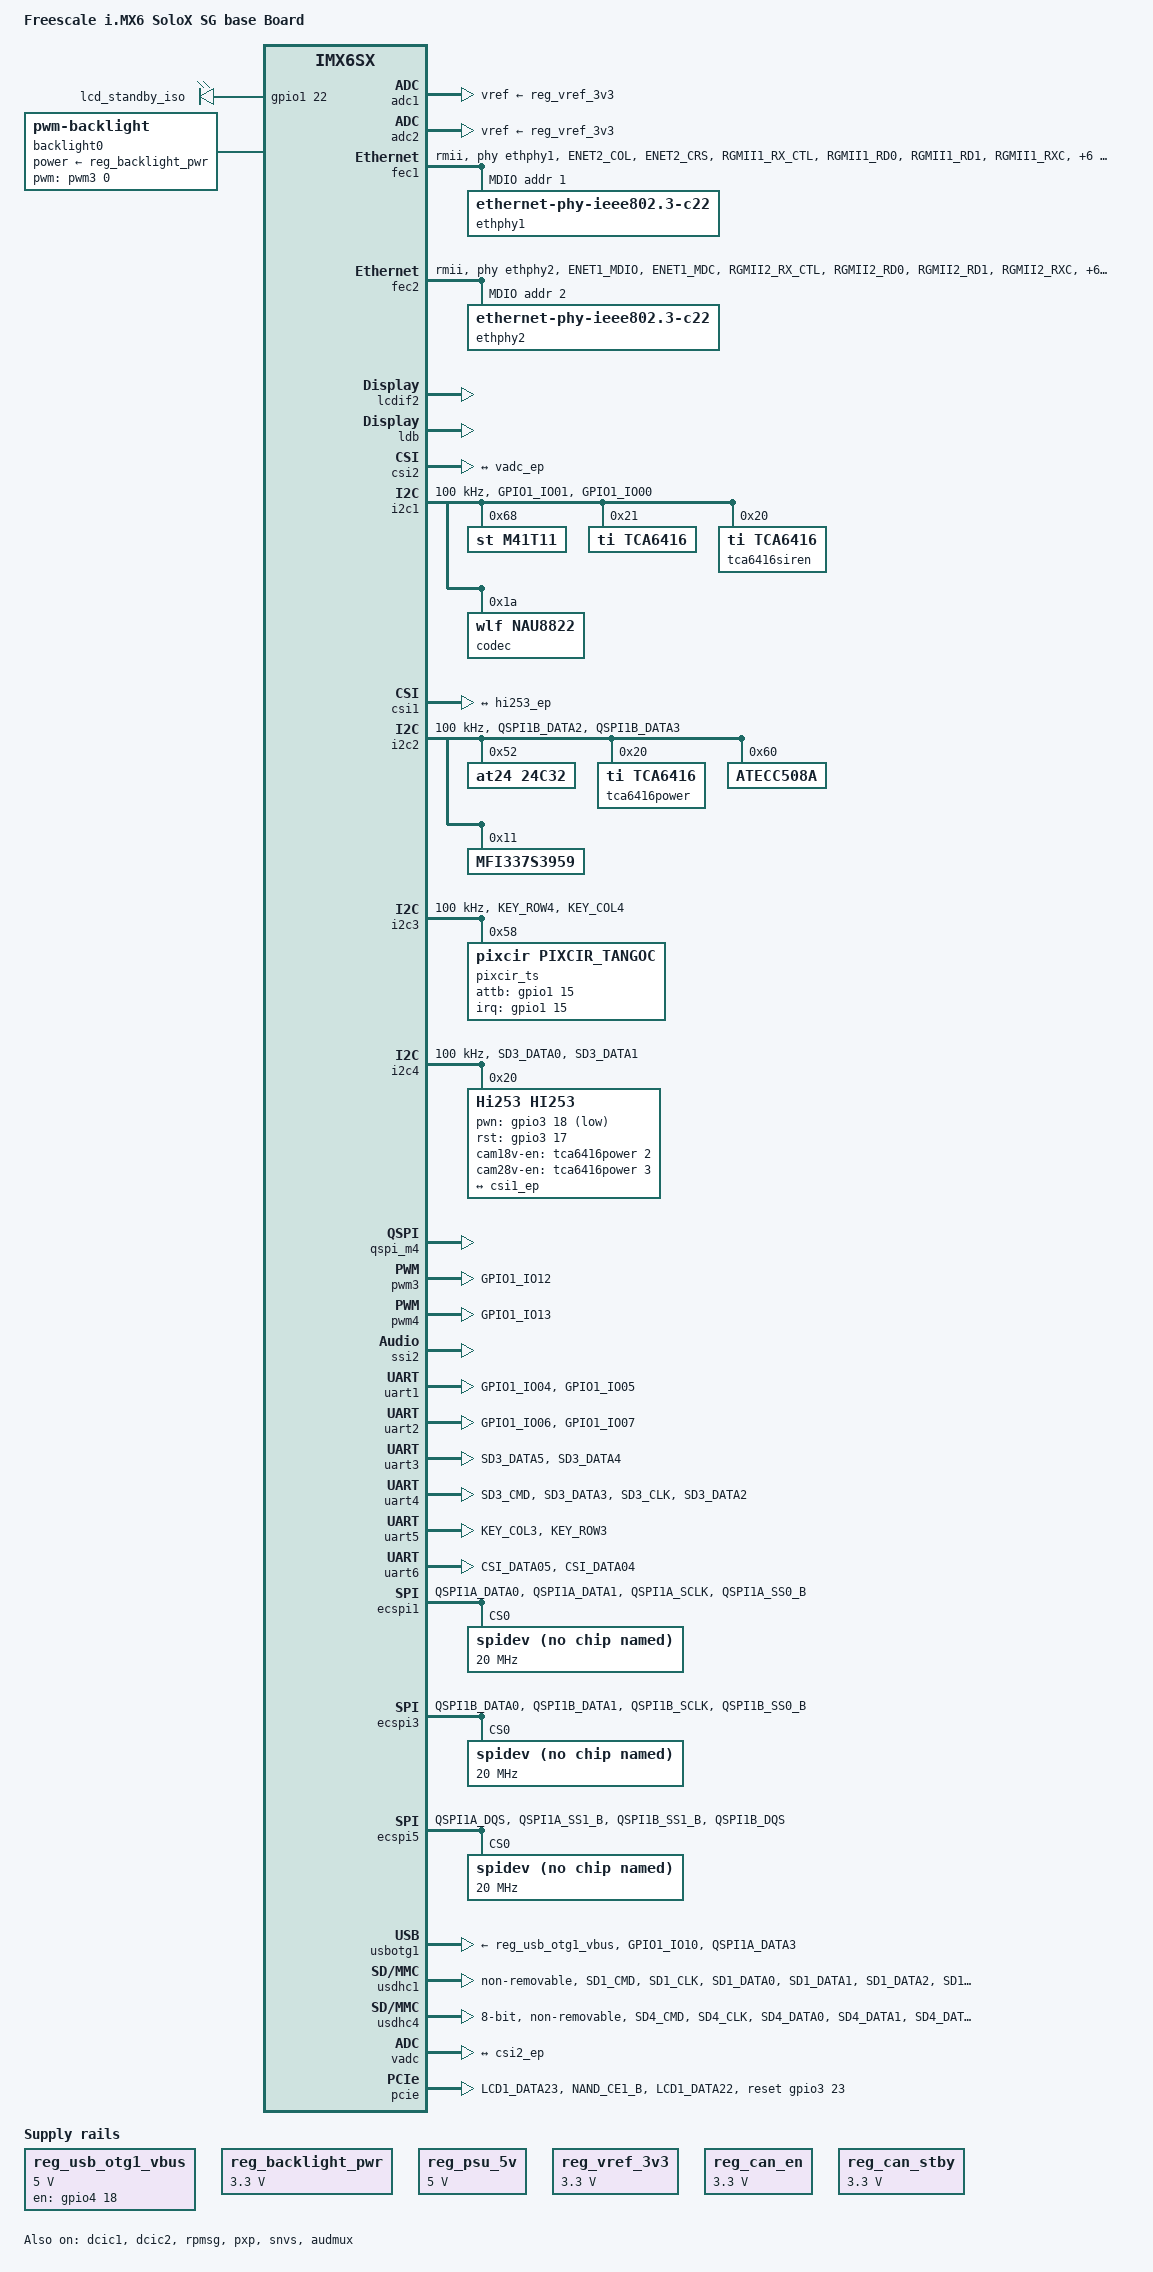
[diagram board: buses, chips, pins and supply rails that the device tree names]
/*
 * Copyright (C) 2014 Freescale Semiconductor, Inc.
 *
 * This program is free software; you can redistribute it and/or modify
 * it under the terms of the GNU General Public License version 2 as
 * published by the Free Software Foundation.
 */

/dts-v1/;

#include <dt-bindings/gpio/gpio.h>
#include <dt-bindings/input/input.h>
#include "imx6sx.dtsi"

/ {
	model = "Freescale i.MX6 SoloX SG base Board";
	compatible = "fsl,imx6sx-sg", "fsl,imx6sx";

	aliases {

    };

	chosen {
		stdout-path = &uart1;
		//stdout-path = &mxcfb1;
	};

	memory {
		linux,usable-memory = <0x80000000 0x1ff00000>;
	};

	lcd-control {
		compatible = "gpio-leds";
		lcd_standby_iso {
			gpios = <&gpio1 22 GPIO_ACTIVE_HIGH>;
			default-state = "on";
		};
		/*
		lcd_reset {
			gpios = <&gpio2 8 GPIO_ACTIVE_HIGH>;
			default-state = "on";
		};
		*/
	};
	/*
	lcd_reset: gpio-reset {
		compatible = "gpio-reset";
		reset-gpios = <&gpio2 8 GPIO_ACTIVE_LOW>;
		reset-delay-us = <50>;
		initially-in-reset;
		#reset-cells = <0>;
	};
	*/

	backlight0 {
		compatible = "pwm-backlight";
		pwms = <&pwm3 0 50000>;
		brightness-levels = <0 4 8 16 32 64 128 255>;
		default-brightness-level = <6>;
		power-supply = <&reg_backlight_pwr>;
		//enable-gpios = <&gpio1 5 1>;
		status = "okay";
	};

	pxp_v4l2_out {
		compatible = "fsl,imx6sx-pxp-v4l2", "fsl,imx6sl-pxp-v4l2";
		status = "okay";
	};

	regulators {
		compatible = "simple-bus";
		#address-cells = <1>;
		#size-cells = <0>;

		reg_usb_otg1_vbus: usb_otg1_vbus {
			compatible = "regulator-fixed";
			reg = <1>;
			pinctrl-names = "default";
			pinctrl-0 = <&pinctrl_usb_otg1_vbus>;
			regulator-name = "usb_otg1_vbus";
			regulator-min-microvolt = <5000000>;
			regulator-max-microvolt = <5000000>;
			gpio = <&gpio4 18 GPIO_ACTIVE_HIGH>;
			enable-active-high;
		};
//this is a GPIO type regulator for PWM, but for sentience gateway we don't have a GPIO to enable disable backlight
/*
		reg_lcd_pwr: regulator@4 {
			compatible = "regulator-gpio";
			reg = <4>;
			regulator-name = "lcd-pwr";
			regulator-min-microvolt = <3300000>;
			regulator-max-microvolt = <3300000>;
			regulator-boot-on;
			enable-gpio = <&gpio2 6 0>;
			states = <3300000 0x1
						3300000 0x0>;
			enable-active-high;
			status = "okay";
		};
*/
		reg_backlight_pwr: regulator@4 {
			compatible = "regulator-fixed";
			reg = <4>;
			regulator-name = "backlight-pwr";
			regulator-min-microvolt = <3300000>;
			regulator-max-microvolt = <3300000>;
		};

		reg_psu_5v: regulator@3 {
			compatible = "regulator-fixed";
			reg = <3>;
			regulator-name = "PSU-5V0";
			regulator-min-microvolt = <5000000>;
			regulator-max-microvolt = <5000000>;
		};

		reg_vref_3v3: regulator@7 {
			compatible = "regulator-fixed";
			reg = <7>;
			regulator-name = "vref-3v3";
			regulator-min-microvolt = <3300000>;
			regulator-max-microvolt = <3300000>;
		};

		reg_can_en: regulator@9 {
			compatible = "regulator-fixed";
			reg = <9>;
			regulator-name = "can-en";
			regulator-min-microvolt = <3300000>;
			regulator-max-microvolt = <3300000>;
		};

		reg_can_stby: regulator@10 {
			compatible = "regulator-fixed";
			reg = <10>;
			regulator-name = "can-stby";
			regulator-min-microvolt = <3300000>;
			regulator-max-microvolt = <3300000>;
		};
	};

	sound {
		compatible = "fsl,imx-audio-nau8822";
		model = "nau8822-audio";
		ssi-controller = <&ssi2>;
		audio-codec = <&codec>;
		audio-routing =
			"Mic Bias", "AMIC";
		mux-int-port = <2>;
		mux-ext-port = <3>;
	};
};

&gpmi {
	pinctrl-names = "default";
	pinctrl-0 = <&pinctrl_gpmi_nand>;
	status = "disabled";
	partition@0 {
	label = "uboot";
	reg = <0 0x800000>;
	};
	partition@0x800000 {
		label = "env";
		reg = <0x800000 0x400000>;
	};
	partition@0xc00000 {
	label = "system";
	reg = <0xc00000 0x2000000>;
	};
	partition@0x1c00000 {
	label = "rootfs";
	reg = <0x2c00000 0x3d400000>;
	};
};

&adc1 {
	vref-supply = <&reg_vref_3v3>;
	status = "okay";
};

&adc2 {
	vref-supply = <&reg_vref_3v3>;
	status = "okay";
};

&fec1 {
	pinctrl-names = "default";
	pinctrl-0 = <&pinctrl_enet1_1>;
	phy-mode = "rmii";
	phy-handle = <&ethphy1>;
	phy-reset-gpios = <&gpio2 4 1>;
	phy-reset-duration =<20>;
   	local-mac-address = [00 04 9F 01 1B 58];
	status = "okay";

	mdio {
		#address-cells = <1>;
		#size-cells = <0>;

		ethphy1: ethernet-phy@1 {
			compatible = "ethernet-phy-ieee802.3-c22";
			reg = <1>;
		};

	};


};

&fec2 {
	pinctrl-names = "default";
	pinctrl-0 = <&pinctrl_enet2_1>;
	phy-mode = "rmii";
	phy-handle = <&ethphy2>;
	phy-reset-gpios = <&gpio2 8 1>;
	phy-reset-duration =<20>;
   	local-mac-address = [00 04 9F 01 1B 68];
	status = "okay";

	mdio {
		#address-cells = <1>;
		#size-cells = <0>;


		ethphy2: ethernet-phy@2 {
			compatible = "ethernet-phy-ieee802.3-c22";
			reg = <2>;
		};


	};

};

&lcdif2 {
	//pinctrl-names = "default";
	//pinctrl-0 = <&pinctrl_lcd>;
	display = <&display1>;
	disp-dev = "ldb";
	status = "okay";
	display1: display {
		bits-per-pixel = <32>;
		bus-width = <24>;
	};
};
&ldb {
    status = "okay";
	lvds-channel@0 {
		fsl,data-mapping = "spwg";//"jeida";
		fsl,data-width = <24>;
		crtc = "lcdif2";
		status = "okay";
		display-timings {
			native-mode = <&timing1>;
			timing1: timing1 {
				clock-frequency = <51200000>;
				hactive = <1024>;
				vactive = <600>;
				hback-porch = <100>;
				hfront-porch = <100>;
				hsync-len = <120>;
				vback-porch = <10>;
				vfront-porch = <10>;
				vsync-len = <15>;
				//de-active = <1>;
			};
		};
	};
};

&csi2 {
	status = "okay";
	port {
		csi2_ep: endpoint {
			remote-endpoint = <&vadc_ep>;
		};
	};
};

&dcic1 {
	dcic_id = <0>;
	dcic_mux = "dcic-lcdif1";
	status = "okay";
};

&dcic2 {
	dcic_id = <1>;
	dcic_mux = "dcic-lvds";
	status = "okay";
};

&i2c1 {
	clock-frequency = <100000>;
        pinctrl-names = "default";
        pinctrl-0 = <&pinctrl_i2c1>;
        status = "okay";
	m41t11: m41t11@68 {
		compatible = "st,m41t11";
		reg = <0x68>;
            	status = "okay";
	};

	tca6416: tca6416@21 {
		compatible = "ti,tca6416";
		reg = <0x21>;
		#gpio-cells = <2>;
		gpio-controller;
	};

	tca6416siren: tca6416@20 {
		compatible = "ti,tca6416";
		reg = <0x20>;
		#gpio-cells = <2>;
		gpio-controller;
	};

	codec: nau8822@1a {
		compatible = "wlf,nau8822";
		reg = <0x1a>;
		clocks = <&clks IMX6SX_CLK_AUDIO>;
	};
};

&csi1 {
        status = "okay";

        port {
                csi1_ep: endpoint {
                        remote-endpoint = <&hi253_ep>;
                };
        };
};

&i2c2 {
	clock-frequency = <100000>;
        pinctrl-names = "default";
        pinctrl-0 = <&pinctrl_i2c2>;
	status = "okay";

	at24@52 {
		compatible = "at24,24c32";
		pagesize = <32>;
		reg = <0x52>;
	};

	tca6416power: tca6416@20 {
		compatible = "ti,tca6416";
		reg = <0x20>;
		#gpio-cells = <2>;
		gpio-controller;
	};

	ATECC508A: ATECC508A@60 {
		compatible = "ATECC508A";
		reg = <0x60>;
	};

	MFI337S3959: MFI337S3959@11 {
		compatible = "MFI337S3959";
		reg = <0x11>;
	};

	/*Hi253@20 {
		compatible = "Hi253,Hi253";
		reg = <0x20>;
		pinctrl-names = "default";
                pinctrl-0 = <&pinctrl_csi_0>;
                clocks = <&clks IMX6SX_CLK_CSI>;
                clock-names = "csi_mclk";
                pwn-gpios = <&gpio3 18 1>;
                rst-gpios = <&gpio3 17 0>;

                cam18v-en-gpios = <&gpio3 3 0>;
                cam28v-en-gpios = <&gpio3 4 0>;

                csi_id = <0>;
                mclk = <19000000>;
                mclk_source = <0>;
                port {
                        hi253_ep: endpoint {
                                remote-endpoint = <&csi1_ep>;
                        };
                };
	};*/

};

&i2c3 {
	clock-frequency = <100000>;
	pinctrl-names = "default";
	pinctrl-0 = <&pinctrl_i2c3>;
	status = "okay";

	/*tca6416: tca6416@20 {
		compatible = "ti,tca6416";
		reg = <0x20>;
		#gpio-cells = <2>;
		gpio-controller;
	};

	codec: nau8822@1a {
		compatible = "wlf,nau8822";
		reg = <0x1a>;
		clocks = <&clks IMX6SX_CLK_AUDIO>;
	};*/

    pixcir_ts@58 {
        compatible = "pixcir,pixcir_tangoc";//"pixcir,tangoc_ts";
        reg = <0x58>;
        interrupt-parent = <&gpio1>;
        interrupts = <15 2>;
        //reset is done by code in pwm_bl.c //gpio_rst = <&gpio5 0 0>;
		attb-gpio = <&gpio1 15 0>;//old kernel name: gpio_attb = <&gpio5 6 0>;
		//no need: gpio_lcd_id = <&gpio4 28 0>;
		touchscreen-size-x = <1024>;
		touchscreen-size-y = <600>;
    };
};

&i2c4 {
    status = "okay";
    clock-frequency = <100000>;
    pinctrl-names = "default";
    pinctrl-0 = <&pinctrl_i2c4>;

    /*pixcir_ts@58 {
        compatible = "pixcir,pixcir_tangoc";//"pixcir,tangoc_ts";
        reg = <0x58>;
        interrupt-parent = <&gpio5>;
        interrupts = <6 2>;
        //reset is done by code in pwm_bl.c //gpio_rst = <&gpio5 0 0>;
		attb-gpio = <&gpio5 6 0>;//old kernel name: gpio_attb = <&gpio5 6 0>;
		//no need: gpio_lcd_id = <&gpio4 28 0>;
		touchscreen-size-x = <1024>;
		touchscreen-size-y = <600>;
    };*/

	Hi253@20 {
		compatible = "Hi253,Hi253";
		reg = <0x20>;
		pinctrl-names = "default";
                pinctrl-0 = <&pinctrl_csi_0>;
                clocks = <&clks IMX6SX_CLK_CSI>;
                clock-names = "csi_mclk";
                pwn-gpios = <&gpio3 18 1>;
                rst-gpios = <&gpio3 17 0>;

                //cam18v-en-gpios = <&gpio3 3 0>;
                //cam28v-en-gpios = <&gpio3 4 0>;
				cam18v-en-gpios = <&tca6416power 2 0>;
                cam28v-en-gpios = <&tca6416power 3 0>;

                csi_id = <0>;
                mclk = <24000000>;
                mclk_source = <0>;
                port {
                        hi253_ep: endpoint {
                                remote-endpoint = <&csi1_ep>;
                        };
                };
	};
};

&ocram {
	reg = <0x00901000 0xf000>;
};

&qspi2 {
	status = "disabled";
};

&qspi_m4 {
	status = "okay";
};

&rpmsg{
	status = "okay";
};

&clks {
	fsl,shared-clks-number = <0x23>;//<0x1A>;
	fsl,shared-clks-index = <IMX6SX_CLK_PLL2_BUS IMX6SX_CLK_PLL2_PFD0
			IMX6SX_CLK_PLL2_PFD2 IMX6SX_CLK_PLL3_USB_OTG
			IMX6SX_CLK_PLL3_PFD1 IMX6SX_CLK_PLL3_PFD2
			IMX6SX_CLK_PLL3_PFD3 IMX6SX_CLK_PLL4_AUDIO
			IMX6SX_CLK_PLL5_VIDEO
			IMX6SX_CLK_OCRAM IMX6SX_CLK_CAN1_SERIAL
			IMX6SX_CLK_CAN1_IPG IMX6SX_CLK_CAN2_SERIAL
			IMX6SX_CLK_CAN2_IPG IMX6SX_CLK_CANFD
			IMX6SX_CLK_ECSPI1 IMX6SX_CLK_ECSPI2
			IMX6SX_CLK_ECSPI3 IMX6SX_CLK_ECSPI4
			IMX6SX_CLK_ECSPI5 IMX6SX_CLK_QSPI1
			IMX6SX_CLK_QSPI2 IMX6SX_CLK_SSI1
			IMX6SX_CLK_SSI2 IMX6SX_CLK_SSI3
			IMX6SX_CLK_UART_SERIAL IMX6SX_CLK_UART_IPG
			IMX6SX_CLK_PERIPH_CLK2_SEL IMX6SX_CLK_DUMMY
			IMX6SX_CLK_I2C1 IMX6SX_CLK_I2C2
			IMX6SX_CLK_I2C3 IMX6SX_CLK_I2C4
			IMX6SX_CLK_EPIT1 IMX6SX_CLK_EPIT2>;
	fsl,shared-mem-addr = <0x91F000>;
	fsl,shared-mem-size = <0x1000>;
};

&pwm3 {
	pinctrl-names = "default";
	pinctrl-0 = <&pinctrl_pwm3_0>;
	status = "okay";
};

&pwm4 {
	pinctrl-names = "default";
	pinctrl-0 = <&pinctrl_pwm4_0>;
	status = "okay";
};


&pxp {
    status = "okay";
};

&snvs{
	status = "okay";
};


&ssi2 {
	fsl,mode = "i2s-slave";
	status = "okay";
};

&audmux {
    pinctrl-names = "default";
    pinctrl-0 = <&pinctrl_audmux>;
    status = "okay";
};

&uart1 {
	pinctrl-names = "default";
	pinctrl-0 = <&pinctrl_uart1>;
	status = "okay";
};

&uart2 {
	pinctrl-names = "default";
	pinctrl-0 = <&pinctrl_uart2>;
	status = "okay";
};

&uart3 {
	pinctrl-names = "default";
	pinctrl-0 = <&pinctrl_uart3>;
	status = "okay";
};

&uart4 {
        pinctrl-names = "default";
        pinctrl-0 = <&pinctrl_uart4>;
	fsl,uart-has-rtscts;
        status = "okay";
	//status = "disabled";
};

&uart5 {
	pinctrl-names = "default";
	pinctrl-0 = <&pinctrl_uart5>;
	status = "okay";
};

&uart6 {
	pinctrl-names = "default";
	pinctrl-0 = <&pinctrl_uart6>;
	//fsl,uart-has-rtscts;
	status = "okay";
};

//PORT5(PORT6)
&ecspi1 {
	fsl,spi-num-chipselects = <1>;
	//cs-gpios = <&gpio2 16 1>; no need to configure here, we set SS as GPIO in pinctrl_ecspi1
	pinctrl-names = "default";
	pinctrl-0 = <&pinctrl_ecspi1>;
	status = "okay";
	spidev@0 {
		compatible = "rohm,dh2228fv";
		spi-max-frequency = <20000000>;
		reg = <0>;
		dmas = <&sdma 3 7 1>, <&sdma 4 7 2>;
		dma-names = "rx", "tx";
	};
};

&ecspi3 {
	fsl,spi-num-chipselects = <1>;
	//cs-gpios = <&gpio2 16 1>; no need to configure here, we set SS as GPIO in pinctrl_ecspi1
	pinctrl-names = "default";
	pinctrl-0 = <&pinctrl_ecspi3>;
	status = "okay";
	spidev@0 {
		compatible = "rohm,dh2228fv";
		spi-max-frequency = <20000000>;
		reg = <0>;
		dmas = <&sdma 7 7 1>, <&sdma 8 7 2>;
		dma-names = "rx", "tx";
	};
};

//PORT3(PORT7)
&ecspi5 {
	fsl,spi-num-chipselects = <1>;
	/*cs-gpios = <&gpio4 28 0>;*/
	pinctrl-names = "default";
	pinctrl-0 = <&pinctrl_ecspi5>;
	status = "okay";
	spidev@0 {
		compatible = "rohm,dh2228fv";
		spi-max-frequency = <20000000>;
		reg = <0>;
		dmas = <&sdma 11 7 1>, <&sdma 12 7 2>;
		dma-names = "rx", "tx";
	};
};

&usbotg1 {
	vbus-supply = <&reg_usb_otg1_vbus>;
	pinctrl-names = "default";
	pinctrl-0 = <&pinctrl_usb_otg1_id>;
	//disable-over-current;
	srp-disable;
	hnp-disable;
	adp-disable;
	status = "okay";
};

&usdhc1 {
	pinctrl-names = "default";
	pinctrl-0 = <&pinctrl_usdhc1>;
	non-removable;
	no-1-8-v;
	keep-power-in-suspend;
	enable-sdio-wakeup;
	status = "okay";
};

/*&usdhc4 {
	pinctrl-names = "default";//, "state_100mhz", "state_200mhz";
	pinctrl-0 = <&pinctrl_usdhc4_1>;
	//pinctrl-1 = <&pinctrl_usdhc4_1_100mhz>;
	//pinctrl-2 = <&pinctrl_usdhc4_1_200mhz>;
	bus-width = <8>;
	/*
	 * overwrite cd-gpios and wp-gpios since they are reused as eMMC DATA
	 * signals after rework
	 */
	/*cd-gpios = <>;
	wp-gpios = <>;
	no-1-8-v;
	non-removable;
	status = "disabled";
};*/
&usdhc4 {
	pinctrl-names = "default";
	pinctrl-0 = <&pinctrl_usdhc4_1>;
	bus-width = <8>;
	non-removable;
	no-1-8-v;
	keep-power-in-suspend;
	enable-sdio-wakeup;
	status = "okay";
};
&iomuxc {
	pinctrl-names = "default";
	pinctrl-0 = <&pinctrl_hog_1>;
	imx6x-sg {
		pinctrl_hog_1: hoggrp-1 {
			fsl,pins = <
				MX6SX_PAD_USB_H_DATA__GPIO7_IO_10	0x83030
			>;
		};

		pinctrl_enet1_1: enet1grp-1 {
			fsl,pins = <
				MX6SX_PAD_ENET2_COL__ENET1_MDC        	0xa089
				MX6SX_PAD_ENET2_CRS__ENET1_MDIO        	0xa089
				MX6SX_PAD_RGMII1_RX_CTL__ENET1_RX_EN   	0xb099
				MX6SX_PAD_RGMII1_RD0__ENET1_RX_DATA_0   0xb099
				MX6SX_PAD_RGMII1_RD1__ENET1_RX_DATA_1   0xb099
				MX6SX_PAD_RGMII1_RXC__ENET1_RX_ER 	0xb099
				MX6SX_PAD_RGMII1_TX_CTL__ENET1_TX_EN	0xb099
				MX6SX_PAD_RGMII1_TD0__ENET1_TX_DATA_0   0xb099
				MX6SX_PAD_RGMII1_TD1__ENET1_TX_DATA_1   0xb099
				MX6SX_PAD_ENET1_RX_CLK__GPIO2_IO_4 	0xb099
				MX6SX_PAD_ENET1_TX_CLK__ENET1_REF_CLK1  0x4000b099

			>;
		};


		pinctrl_enet2_1: enet2grp-1{
			fsl,pins = <
				MX6SX_PAD_ENET1_MDIO__ENET2_MDIO        0xa089
				MX6SX_PAD_ENET1_MDC__ENET2_MDC          0xa089
				MX6SX_PAD_RGMII2_RX_CTL__ENET2_RX_EN    0xb099
				MX6SX_PAD_RGMII2_RD0__ENET2_RX_DATA_0   0xb099
				MX6SX_PAD_RGMII2_RD1__ENET2_RX_DATA_1   0xb099
                		MX6SX_PAD_RGMII2_RXC__ENET2_RX_ER       0xb099
				MX6SX_PAD_RGMII2_TX_CTL__ENET2_TX_EN    0xb099
				MX6SX_PAD_RGMII2_TD0__ENET2_TX_DATA_0   0xb099
				MX6SX_PAD_RGMII2_TD1__ENET2_TX_DATA_1   0xb099
				MX6SX_PAD_ENET2_RX_CLK__GPIO2_IO_8       0xb099
				MX6SX_PAD_ENET2_TX_CLK__ENET2_REF_CLK2	0x4000b099
                >;
		};


                pinctrl_csi_0: csigrp-0 {
                        fsl,pins = <
                                MX6SX_PAD_LCD1_DATA07__CSI1_MCLK        0x110b0
                                MX6SX_PAD_LCD1_DATA06__CSI1_PIXCLK      0x110b9
                                MX6SX_PAD_LCD1_DATA04__CSI1_VSYNC       0x110b0
                                MX6SX_PAD_LCD1_DATA05__CSI1_HSYNC       0x110b0
                                //MX6SX_PAD_LCD1_DATA17__CSI1_DATA_0      0x110b0
                                //MX6SX_PAD_LCD1_DATA16__CSI1_DATA_1      0x110b0
                                MX6SX_PAD_LCD1_DATA15__CSI1_DATA_2      0x110b0
                                MX6SX_PAD_LCD1_DATA14__CSI1_DATA_3      0x110b0
                                MX6SX_PAD_LCD1_DATA13__CSI1_DATA_4      0x110b0
                                MX6SX_PAD_LCD1_DATA12__CSI1_DATA_5      0x110b0
                                MX6SX_PAD_LCD1_DATA11__CSI1_DATA_6      0x110b0
                                MX6SX_PAD_LCD1_DATA10__CSI1_DATA_7      0x110b0
                                MX6SX_PAD_LCD1_DATA09__CSI1_DATA_8      0x110b0
                                MX6SX_PAD_LCD1_DATA08__CSI1_DATA_9      0x110b0

                                //MX6SX_PAD_LCD1_RESET__GPIO3_IO_27       0x80000000
                                //MX6SX_PAD_LCD1_VSYNC__GPIO3_IO_28       0x80000000

				//MX6SX_PAD_LCD1_DATA03__GPIO3_IO_4 0x80000000
				//MX6SX_PAD_LCD1_DATA02__GPIO3_IO_3 0x80000000

				MX6SX_PAD_LCD1_DATA16__GPIO3_IO_17 0x80000000
				MX6SX_PAD_LCD1_DATA17__GPIO3_IO_18  0x80000000
                        >;
                };


		pinctrl_gpmi_nand: gpmi-nand {
			fsl,pins = <
				MX6SX_PAD_NAND_CLE__RAWNAND_CLE         0xb0b1
				MX6SX_PAD_NAND_ALE__RAWNAND_ALE         0xb091
				MX6SX_PAD_NAND_WP_B__RAWNAND_WP_B       0xb0b1
				MX6SX_PAD_NAND_READY_B__RAWNAND_READY_B 0xb000
				MX6SX_PAD_NAND_CE0_B__RAWNAND_CE0_B     0xb0b1
				MX6SX_PAD_NAND_RE_B__RAWNAND_RE_B       0xb091
				MX6SX_PAD_NAND_WE_B__RAWNAND_WE_B       0xb091
				MX6SX_PAD_NAND_DATA00__RAWNAND_DATA00   0xb091
				MX6SX_PAD_NAND_DATA01__RAWNAND_DATA01   0xb091
				MX6SX_PAD_NAND_DATA02__RAWNAND_DATA02   0xb091
				MX6SX_PAD_NAND_DATA03__RAWNAND_DATA03   0xb091
				MX6SX_PAD_NAND_DATA04__RAWNAND_DATA04   0xb091
				MX6SX_PAD_NAND_DATA05__RAWNAND_DATA05   0xb091
				MX6SX_PAD_NAND_DATA06__RAWNAND_DATA06   0xb091
				MX6SX_PAD_NAND_DATA07__RAWNAND_DATA07   0xb091
			>;
		};

		pinctrl_i2c1: i2c1grp {
			fsl,pins = <
				MX6SX_PAD_GPIO1_IO01__I2C1_SDA		0x4001b8b1
				MX6SX_PAD_GPIO1_IO00__I2C1_SCL		0x4001b8b1
			>;
		};

		pinctrl_i2c2: i2c2grp {
			fsl,pins = <
				MX6SX_PAD_QSPI1B_DATA2__I2C2_SDA 0x4001b8b1
				MX6SX_PAD_QSPI1B_DATA3__I2C2_SCL  0x4001b8b1
			>;
		};

		pinctrl_i2c3: i2c3grp {
			fsl,pins = <
				MX6SX_PAD_KEY_ROW4__I2C3_SDA 0x4001b8b1
				MX6SX_PAD_KEY_COL4__I2C3_SCL 0x4001b8b1
			>;
		};

		pinctrl_i2c4: i2c4grp {
			fsl,pins = <
				MX6SX_PAD_SD3_DATA0__I2C4_SCL		0x4001b8b1
				MX6SX_PAD_SD3_DATA1__I2C4_SDA		0x4001b8b1
			>;
		};

		pinctrl_lcd: lcdgrp {
			fsl,pins = <
				//MX6SX_PAD_RGMII1_RXC__GPIO5_IO_5		0x80000000
				//MX6SX_PAD_ENET1_RX_CLK__GPIO2_IO_4       0xb099
				//MX6SX_PAD_ENET2_COL__GPIO2_IO_6			0x80000000
			>;
		};

		pinctrl_mqs: mqsgrp {
			fsl,pins = <
				MX6SX_PAD_SD2_CLK__MQS_RIGHT 0x120b0
				MX6SX_PAD_SD2_CMD__MQS_LEFT  0x120b0
			>;
		};

		pinctrl_pcie: pciegrp {
			fsl,pins = <
				/*MX6SX_PAD_RGMII2_RD2__GPIO5_IO_14 0x10b0
				MX6SX_PAD_RGMII1_RXC__GPIO5_IO_5 0x10b0
				MX6SX_PAD_LCD1_DATA20__GPIO3_IO_21 0x10b0
				MX6SX_PAD_RGMII2_TD2__GPIO5_IO_20 0x10b0
				MX6SX_PAD_RGMII1_TX_CTL__GPIO5_IO_10 0x10b0  */

				MX6SX_PAD_LCD1_DATA23__GPIO3_IO_24    0x10b0
				MX6SX_PAD_NAND_CE1_B__GPIO4_IO_2   0x10b0
				MX6SX_PAD_LCD1_DATA22__GPIO3_IO_23    0x10b0

			>;
		};

		pinctrl_pcie_reg: pciereggrp {
			fsl,pins = <
				/*MX6SX_PAD_RGMII2_TD2__GPIO5_IO_20	0x10b0*/
				MX6SX_PAD_LCD1_DATA23__GPIO3_IO_24    0x10b0
			>;
		};

		pinctrl_peri_3v3: peri3v3grp {
			fsl,pins = <
				MX6SX_PAD_QSPI1A_DATA0__GPIO4_IO_16	0x80000000
			>;
		};

		pinctrl_pwm3_0: pwm3grp-0 {
			fsl,pins = <
				MX6SX_PAD_GPIO1_IO12__PWM3_OUT 0x1b0b1	//old: 0x110b0
			>;
		};

		pinctrl_pwm4_0: pwm4grp-0 {
			fsl,pins = <
				MX6SX_PAD_GPIO1_IO13__PWM4_OUT 0x1b0b1	//old: 0x110b0
			>;
		};


		pinctrl_uart1: uart1grp {// uart1 is used by A9 console
			fsl,pins = <
				MX6SX_PAD_GPIO1_IO04__UART1_TX		0x1b0b1
				MX6SX_PAD_GPIO1_IO05__UART1_RX		0x1b0b1
			>;
		};

		pinctrl_uart2: uart2grp {// J7 for modbus 485
			fsl,pins = <
				MX6SX_PAD_GPIO1_IO06__UART2_TX		0x1b0b1
				MX6SX_PAD_GPIO1_IO07__UART2_RX		0x1b0b1
			>;
		};

		pinctrl_uart3: uart3grp {// J7 for modbus 485
			fsl,pins = <
				MX6SX_PAD_SD3_DATA5__UART3_TX		0x1b0b1
				MX6SX_PAD_SD3_DATA4__UART3_RX		0x1b0b1
			>;
		};

		//PORT5,/dev/ttymxc3,test 485
		pinctrl_uart4: uart4grp {
			fsl,pins = <
				MX6SX_PAD_SD3_CMD__UART4_TX		0x1b0b1
				MX6SX_PAD_SD3_DATA3__UART4_RX		0x1b0b1
				MX6SX_PAD_SD3_CLK__UART4_CTS_B          0x1b0b1
				MX6SX_PAD_SD3_DATA2__UART4_RTS_B        0x1b0b1
			>;
		};

		pinctrl_uart5: uart5grp {// uart5 is used by M4 console
			fsl,pins = <
				MX6SX_PAD_KEY_COL3__UART5_TX		0x1b0b1
				MX6SX_PAD_KEY_ROW3__UART5_RX		0x1b0b1
			>;
		};

		pinctrl_uart6: uart6grp {// uart6 is for x4 485
			fsl,pins = <
				MX6SX_PAD_CSI_DATA05__UART6_TX		0x1b0b1
				MX6SX_PAD_CSI_DATA04__UART6_RX		0x1b0b1
				//MX6SX_PAD_CSI_DATA06__UART6_RTS_B       0x1b0b1
				//MX6SX_PAD_CSI_DATA07__UART6_CTS_B       0x1b0b1
			>;
		};

		pinctrl_ecspi1: ecspi1grp {
			fsl,pins = <
				/*MX6SX_PAD_KEY_ROW0__ECSPI1_MOSI			0x1b089//QSPI1A_DATA0
				MX6SX_PAD_KEY_COL1__ECSPI1_MISO			0x1b0b9//QSPI1A_DATA1
				MX6SX_PAD_KEY_COL0__ECSPI1_SCLK			0x1b089//QSPI1A_SCLK
				MX6SX_PAD_KEY_ROW1__ECSPI1_SS0			0x0b089//QSPI1A_SS0_B*/
				MX6SX_PAD_QSPI1A_DATA0__ECSPI1_MOSI			0x1b0b9
				MX6SX_PAD_QSPI1A_DATA1__ECSPI1_MISO			0x1b0b9
				MX6SX_PAD_QSPI1A_SCLK__ECSPI1_SCLK			0x1b0b9
				MX6SX_PAD_QSPI1A_SS0_B__ECSPI1_SS0			0x0b0b9
			>;
		};

		pinctrl_ecspi3: ecspi3grp {
			fsl,pins = <
				MX6SX_PAD_QSPI1B_DATA0__ECSPI3_MOSI	0x1b0b9
				MX6SX_PAD_QSPI1B_DATA1__ECSPI3_MISO	0x1b0b9
				MX6SX_PAD_QSPI1B_SCLK__ECSPI3_SCLK     0x1b0b9
				MX6SX_PAD_QSPI1B_SS0_B__ECSPI3_SS0      0x0b0b9
			>;
		};

		pinctrl_ecspi5: ecspi5grp {
			fsl,pins = <
				MX6SX_PAD_QSPI1A_DQS__ECSPI5_MOSI	0x1b0b9//QSPI1A_DQS
				MX6SX_PAD_QSPI1A_SS1_B__ECSPI5_MISO	0x1b0b9//QSPI1A_SS1_B
				MX6SX_PAD_QSPI1B_SS1_B__ECSPI5_SCLK     0x1b0b9//QSPI1B_SS1_B
				MX6SX_PAD_QSPI1B_DQS__ECSPI5_SS0      	0x0b0b9//QSPI1B_DQS
			>;
		};

		pinctrl_audmux: audmuxgrp {
			fsl,pins = <
				/*MX6SX_PAD_CSI_DATA00__AUDMUX_AUD6_TXC	0x130b0
				MX6SX_PAD_CSI_DATA01__AUDMUX_AUD6_TXFS	0x130b0
				MX6SX_PAD_CSI_HSYNC__AUDMUX_AUD6_TXD	0x120b0
				MX6SX_PAD_CSI_VSYNC__AUDMUX_AUD6_RXD	0x130b0
				MX6SX_PAD_CSI_PIXCLK__AUDMUX_MCLK	0x130b0*/

				MX6SX_PAD_LCD1_RESET__AUDMUX_AUD3_RXD    0x130b0
				MX6SX_PAD_LCD1_ENABLE__AUDMUX_AUD3_TXC   0x130b0
				MX6SX_PAD_LCD1_HSYNC__AUDMUX_AUD3_TXD    0x120b0
				MX6SX_PAD_LCD1_VSYNC__AUDMUX_AUD3_TXFS   0x130b0
				MX6SX_PAD_CSI_PIXCLK__AUDMUX_MCLK        0x130b0
			>;
		};

		pinctrl_usb_otg1_vbus: usbotg1vbusgrp {
			fsl,pins = <
				MX6SX_PAD_QSPI1A_DATA2__GPIO4_IO_18     0x10b0
			>;
		};

		pinctrl_usb_otg1_id: usbotg1idgrp {
			fsl,pins = <
				MX6SX_PAD_GPIO1_IO10__ANATOP_OTG1_ID 	0x17059
				MX6SX_PAD_QSPI1A_DATA3__USB_OTG1_OC	0x17059
			>;
		};


		pinctrl_usdhc1: usdhc1grp {
			fsl,pins = <
				MX6SX_PAD_SD1_CMD__USDHC1_CMD		0x17059
				MX6SX_PAD_SD1_CLK__USDHC1_CLK		0x100f9
				MX6SX_PAD_SD1_DATA0__USDHC1_DATA0	0x17059
				MX6SX_PAD_SD1_DATA1__USDHC1_DATA1	0x17059
				MX6SX_PAD_SD1_DATA2__USDHC1_DATA2	0x17059
				MX6SX_PAD_SD1_DATA3__USDHC1_DATA3	0x17059
			>;
		};

		pinctrl_usdhc4_1: usdhc4grp-1 {
			fsl,pins = <
				MX6SX_PAD_SD4_CMD__USDHC4_CMD		0x17059
				MX6SX_PAD_SD4_CLK__USDHC4_CLK		0x10059
				MX6SX_PAD_SD4_DATA0__USDHC4_DATA0	0x17059
				MX6SX_PAD_SD4_DATA1__USDHC4_DATA1	0x17059
				MX6SX_PAD_SD4_DATA2__USDHC4_DATA2	0x17059
				MX6SX_PAD_SD4_DATA3__USDHC4_DATA3	0x17059
				MX6SX_PAD_SD4_DATA4__USDHC4_DATA4	0x17059
				MX6SX_PAD_SD4_DATA5__USDHC4_DATA5	0x17059
				MX6SX_PAD_SD4_DATA6__USDHC4_DATA6	0x17059
				MX6SX_PAD_SD4_DATA7__USDHC4_DATA7	0x17059
				MX6SX_PAD_SD4_RESET_B__USDHC4_RESET_B	0x17059
			>;
		};

		pinctrl_usdhc4_1_100mhz: usdhc4grp-1-100mhz {
			fsl,pins = <
				MX6SX_PAD_SD4_CMD__USDHC4_CMD		0x170b9
				MX6SX_PAD_SD4_CLK__USDHC4_CLK		0x100b9
				MX6SX_PAD_SD4_DATA0__USDHC4_DATA0	0x170b9
				MX6SX_PAD_SD4_DATA1__USDHC4_DATA1	0x170b9
				MX6SX_PAD_SD4_DATA2__USDHC4_DATA2	0x170b9
				MX6SX_PAD_SD4_DATA3__USDHC4_DATA3	0x170b9
				MX6SX_PAD_SD4_DATA4__USDHC4_DATA4	0x170b9
				MX6SX_PAD_SD4_DATA5__USDHC4_DATA5	0x170b9
				MX6SX_PAD_SD4_DATA6__USDHC4_DATA6	0x170b9
				MX6SX_PAD_SD4_DATA7__USDHC4_DATA7	0x170b9
			>;
		};

		pinctrl_usdhc4_1_200mhz: usdhc4grp-1-200mhz {
			fsl,pins = <
				MX6SX_PAD_SD4_CMD__USDHC4_CMD		0x170f9
				MX6SX_PAD_SD4_CLK__USDHC4_CLK		0x100f9
				MX6SX_PAD_SD4_DATA0__USDHC4_DATA0	0x170f9
				MX6SX_PAD_SD4_DATA1__USDHC4_DATA1	0x170f9
				MX6SX_PAD_SD4_DATA2__USDHC4_DATA2	0x170f9
				MX6SX_PAD_SD4_DATA3__USDHC4_DATA3	0x170f9
				MX6SX_PAD_SD4_DATA4__USDHC4_DATA4	0x170f9
				MX6SX_PAD_SD4_DATA5__USDHC4_DATA5	0x170f9
				MX6SX_PAD_SD4_DATA6__USDHC4_DATA6	0x170f9
				MX6SX_PAD_SD4_DATA7__USDHC4_DATA7	0x170f9
			>;
		};

	};
};

&vadc {
	vadc_in = <0>;
	csi_id = <1>;
	status = "okay";
	port {
		vadc_ep: endpoint {
			remote-endpoint = <&csi2_ep>;
		};
	};
};

&pcie {
	pinctrl-names = "default";
	pinctrl-0 = <&pinctrl_pcie>;
	//reset-gpio = <&gpio3 21 0>;
	//power-on-gpio = <&gpio5 20 0>;
	//disable-gpio = <&gpio5 10 0>;
	reset-gpio = <&gpio3 23 0>;
	power-on-gpio = <&gpio3 24 0>;
	disable-gpio = <&gpio4 2 0>;
	//ext-gpio = <&gpio5 5 0>;
	status = "okay";
};
